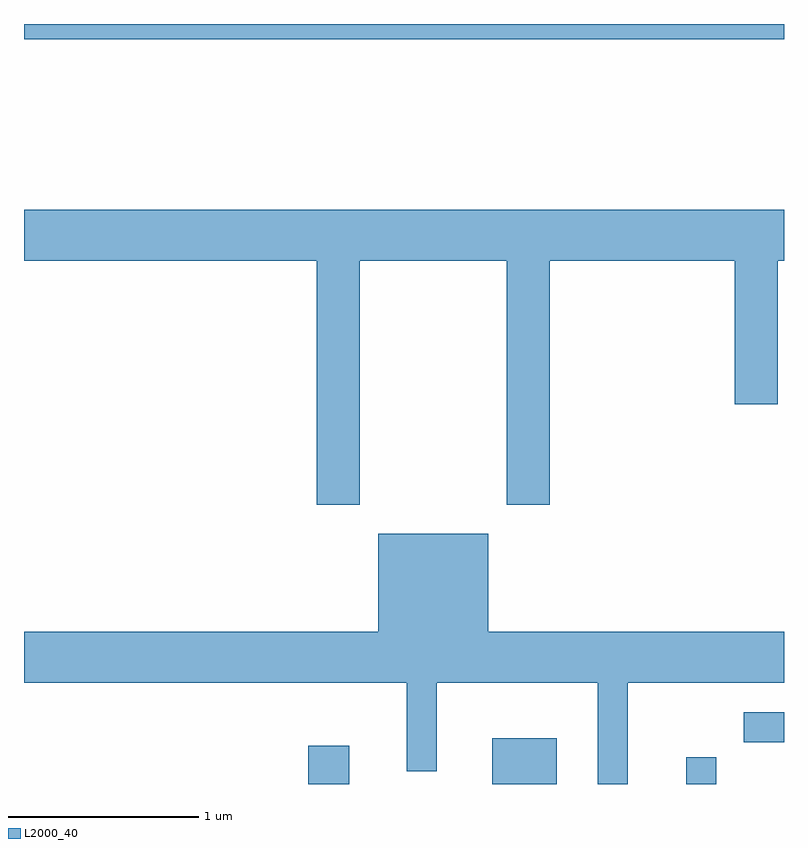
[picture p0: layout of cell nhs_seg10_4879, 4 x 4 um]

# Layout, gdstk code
import gdstk
lib = gdstk.Library(unit=1e-6, precision=1e-09)
def R(c, l, rs):  # rectangles x0, y0, x1, y1
    for r in rs: c.add(gdstk.rectangle(r[:2], r[2:], *l))
def P(c, l, *ps):  # polygons
    for p in ps: c.add(gdstk.Polygon(p, *l))
L2000_40 = (2000, 40)

nhs_seg10_4879 = lib.new_cell('nhs_seg10_4879')
R(nhs_seg10_4879, L2000_40, [(331.106,2084.522,331.324,2084.724), (332.076,2084.522,332.414,2084.764), (333.096,2084.522,333.254,2084.663), (333.398,2084.741,333.611,2084.899), (329.611,2088.441,333.611,2088.522)])
P(nhs_seg10_4879, L2000_40, [(331.379,2087.276),(332.151,2087.276),(332.151,2085.991),(332.379,2085.991),(332.379,2087.276),(333.351,2087.276),(333.351,2086.521),(333.579,2086.521),(333.579,2087.276),(333.611,2087.276),(333.611,2087.544),(329.611,2087.544),(329.611,2087.276),(331.151,2087.276),(331.151,2085.991),(331.379,2085.991)],
  [(331.476,2085.324),(329.611,2085.324),(329.611,2085.056),(331.626,2085.056),(331.626,2084.588),(331.784,2084.588),(331.784,2085.056),(332.631,2085.056),(332.631,2084.522),(332.789,2084.522),(332.789,2085.056),(333.611,2085.056),(333.611,2085.324),(332.054,2085.324),(332.054,2085.839),(331.476,2085.839)])

lib.write_gds('nhs_seg10_4879.gds')
